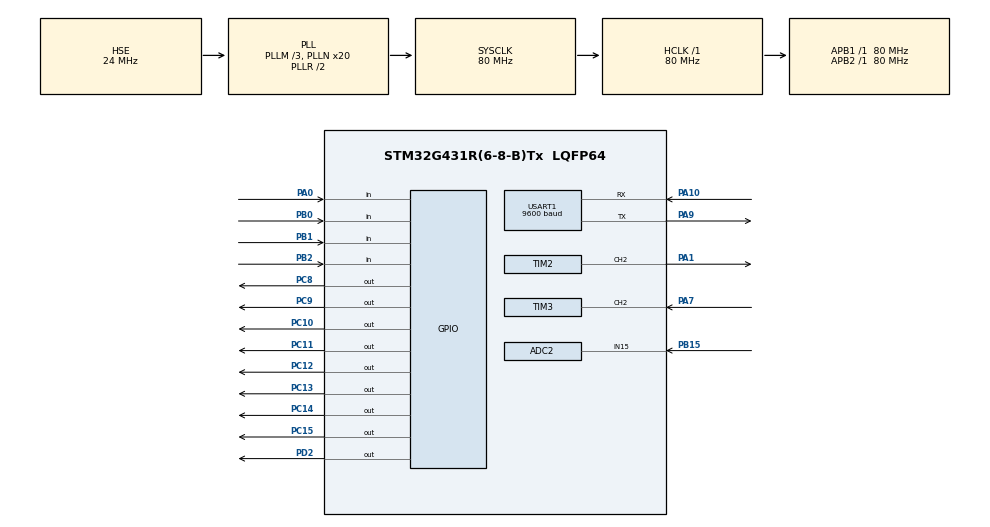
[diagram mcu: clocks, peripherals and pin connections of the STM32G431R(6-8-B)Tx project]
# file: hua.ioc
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ADC2.Channel-0\#ChannelRegularConversion=ADC_CHANNEL_15
ADC2.NbrOfConversionFlag=1
ADC2.OffsetNumber-0\#ChannelRegularConversion=ADC_OFFSET_NONE
ADC2.Rank-0\#ChannelRegularConversion=1
ADC2.SamplingTime-0\#ChannelRegularConversion=ADC_SAMPLETIME_2CYCLES_5
Mcu.Family=STM32G4
Mcu.Name=STM32G431R(6-8-B)Tx
Mcu.Package=LQFP64
NVIC.ADC1_2_IRQn=true\:0\:0\:false\:false\:true\:true\:true\:true
NVIC.PriorityGroup=NVIC_PRIORITYGROUP_4
NVIC.TIM2_IRQn=true\:0\:0\:false\:false\:true\:true\:true\:true
NVIC.TIM3_IRQn=true\:0\:0\:false\:false\:true\:true\:true\:true
NVIC.USART1_IRQn=true\:0\:0\:false\:false\:true\:true\:true\:true
PA0.GPIO_Mode=GPIO_MODE_INPUT
PA0.GPIO_PuPd=GPIO_NOPULL
PA0.Signal=GPIO_Input
PA1.Signal=S_TIM2_CH2
PA10.Mode=Asynchronous
PA10.Signal=USART1_RX
PA7.Signal=S_TIM3_CH2
PA9.Mode=Asynchronous
PA9.Signal=USART1_TX
PB0.GPIO_Mode=GPIO_MODE_INPUT
PB0.GPIO_PuPd=GPIO_NOPULL
PB0.Signal=GPIO_Input
PB1.GPIO_Mode=GPIO_MODE_INPUT
PB1.GPIO_PuPd=GPIO_NOPULL
PB1.Signal=GPIO_Input
PB15.Mode=IN15-Single-Ended
PB15.Signal=ADC2_IN15
PB2.GPIO_Mode=GPIO_MODE_INPUT
PB2.GPIO_PuPd=GPIO_NOPULL
PB2.Signal=GPIO_Input
PC10.GPIO_ModeDefaultOutputPP=GPIO_MODE_OUTPUT_PP
PC10.GPIO_PuPd=GPIO_NOPULL
PC10.GPIO_Speed=GPIO_SPEED_FREQ_LOW
PC10.PinState=GPIO_PIN_SET
PC10.Signal=GPIO_Output
PC11.GPIO_ModeDefaultOutputPP=GPIO_MODE_OUTPUT_PP
PC11.GPIO_PuPd=GPIO_NOPULL
PC11.GPIO_Speed=GPIO_SPEED_FREQ_LOW
PC11.PinState=GPIO_PIN_SET
PC11.Signal=GPIO_Output
PC12.GPIO_ModeDefaultOutputPP=GPIO_MODE_OUTPUT_PP
PC12.GPIO_PuPd=GPIO_NOPULL
PC12.GPIO_Speed=GPIO_SPEED_FREQ_LOW
PC12.PinState=GPIO_PIN_SET
PC12.Signal=GPIO_Output
PC13.GPIO_ModeDefaultOutputPP=GPIO_MODE_OUTPUT_PP
PC13.GPIO_PuPd=GPIO_NOPULL
PC13.GPIO_Speed=GPIO_SPEED_FREQ_LOW
PC13.PinState=GPIO_PIN_SET
PC13.Signal=GPIO_Output
PC14-OSC32_IN.GPIO_ModeDefaultOutputPP=GPIO_MODE_OUTPUT_PP
PC14-OSC32_IN.GPIO_PuPd=GPIO_NOPULL
PC14-OSC32_IN.GPIO_Speed=GPIO_SPEED_FREQ_LOW
PC14-OSC32_IN.PinState=GPIO_PIN_SET
PC14-OSC32_IN.Signal=GPIO_Output
PC15-OSC32_OUT.GPIO_ModeDefaultOutputPP=GPIO_MODE_OUTPUT_PP
PC15-OSC32_OUT.GPIO_PuPd=GPIO_NOPULL
PC15-OSC32_OUT.GPIO_Speed=GPIO_SPEED_FREQ_LOW
PC15-OSC32_OUT.PinState=GPIO_PIN_SET
PC15-OSC32_OUT.Signal=GPIO_Output
PC8.GPIO_ModeDefaultOutputPP=GPIO_MODE_OUTPUT_PP
PC8.GPIO_PuPd=GPIO_NOPULL
PC8.GPIO_Speed=GPIO_SPEED_FREQ_LOW
PC8.PinState=GPIO_PIN_SET
PC8.Signal=GPIO_Output
PC9.GPIO_ModeDefaultOutputPP=GPIO_MODE_OUTPUT_PP
PC9.GPIO_PuPd=GPIO_NOPULL
PC9.GPIO_Speed=GPIO_SPEED_FREQ_LOW
PC9.PinState=GPIO_PIN_SET
PC9.Signal=GPIO_Output
PD2.Signal=GPIO_Output
PF0-OSC_IN.Mode=HSE-External-Oscillator
PF0-OSC_IN.Signal=RCC_OSC_IN
PF1-OSC_OUT.Mode=HSE-External-Oscillator
PF1-OSC_OUT.Signal=RCC_OSC_OUT
ProjectManager.HeapSize=0x200
ProjectManager.StackSize=0x400
ProjectManager.TargetToolchain=MDK-ARM V5.27
RCC.ADC12Freq_Value=80000000
RCC.AHBFreq_Value=80000000
RCC.APB1Freq_Value=80000000
RCC.APB1TimFreq_Value=80000000
RCC.APB2Freq_Value=80000000
RCC.APB2TimFreq_Value=80000000
RCC.CortexFreq_Value=80000000
RCC.EXTERNAL_CLOCK_VALUE=12288000
RCC.HCLKFreq_Value=80000000
RCC.HSE_VALUE=24000000
RCC.HSI48_VALUE=48000000
RCC.HSI_VALUE=16000000
RCC.LSE_VALUE=32768
RCC.PLLM=RCC_PLLM_DIV3
RCC.PLLN=20
RCC.PLLSourceVirtual=RCC_PLLSOURCE_HSE
RCC.RTCClockSelection=RCC_RTCCLKSOURCE_HSE_DIV32
RCC.SYSCLKFreq_VALUE=80000000
RCC.SYSCLKSource=RCC_SYSCLKSOURCE_PLLCLK
RCC.USBFreq_Value=80000000
RCC.VCOOutputFreq_Value=160000000
RTC.AsynchPrediv=125
RTC.Hours=23
RTC.Minutes=59
RTC.Seconds=50
RTC.SynchPrediv=6000
SH.S_TIM2_CH2.0=TIM2_CH2,Output Compare2 CH2
SH.S_TIM3_CH2.0=TIM3_CH2,TriggerSource_TI2FP2
SH.S_TIM3_CH2.1=TIM3_CH2,Input_Capture2_from_TI2
TIM2.Channel-Output\ Compare2\ CH2=TIM_CHANNEL_2
TIM2.OCMode_2=TIM_OCMODE_TOGGLE
TIM2.Prescaler=79
TIM2.PulseNoDither_2=100
TIM3.Channel-Input_Capture1_from_TI2_63=TIM_CHANNEL_1
TIM3.Channel-Input_Capture2_from_TI2=TIM_CHANNEL_2
TIM3.ICPolarity_CH1=TIM_INPUTCHANNELPOLARITY_FALLING
TIM3.ICPolarity_CH2=TIM_INPUTCHANNELPOLARITY_RISING
TIM3.Prescaler=79
USART1.BaudRate=9600
USART1.VirtualMode-Asynchronous=VM_ASYNC
VP_RTC_VS_RTC_Activate.Mode=RTC_Enabled
VP_RTC_VS_RTC_Calendar.Mode=RTC_Calendar
VP_SYS_VS_DBSignals.Mode=DisableDeadBatterySignals
VP_TIM2_VS_ClockSourceINT.Mode=Internal
VP_TIM3_VS_ClockSourceINT.Mode=Internal
VP_TIM3_VS_ControllerModeReset.Mode=Reset Mode
VP_TIM3_VS_indirect_ch2.Mode=Input_Capture1_from_TI2_63
board=custom

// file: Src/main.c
/* USER CODE BEGIN Header */
/**
  ******************************************************************************
  * @file           : main.c
  * @brief          : Main program body
  ******************************************************************************
  * @attention
  *
  * <h2><center>&copy; Copyright (c) 2024 STMicroelectronics.
  * All rights reserved.</center></h2>
  *
  * This software component is licensed by ST under BSD 3-Clause license,
  * the "License"; You may not use this file except in compliance with the
  * License. You may obtain a copy of the License at:
  *                        opensource.org/licenses/BSD-3-Clause
  *
  ******************************************************************************
  */
/* USER CODE END Header */
#include "main.h"
#include "adc.h"
#include "rtc.h"
#include "tim.h"
#include "usart.h"
#include "gpio.h"

/* USER CODE BEGIN Includes */
#include "bsp_test.h"
#include "lcd.h"
#include "i2c_hal.h"
#include "rtc.h"
/* USER CODE END Includes */

void SystemClock_Config(void);

int main(void)
{

  /* MCU Configuration--------------------------------------------------------*/

  /* Reset of all peripherals, Initializes the Flash interface and the Systick. */
  HAL_Init();

  /* Configure the system clock */
  SystemClock_Config();

  /* Initialize all configured peripherals */
  MX_GPIO_Init();
  MX_ADC2_Init();
  MX_TIM2_Init();
  MX_TIM3_Init();
  MX_USART1_UART_Init();
  MX_RTC_Init();
  /* USER CODE BEGIN 2 */
	I2CInit();
  LCD_Init();
	LCD_SetBackColor(Blue);
	LCD_SetTextColor(White);
	LCD_Clear(Blue);
//	HAL_UART_Init(&huart1);

	HAL_TIM_OC_Start_IT(&htim2,TIM_CHANNEL_2);

	HAL_TIM_IC_Start_IT(&htim3,TIM_CHANNEL_2);
	HAL_TIM_IC_Start_IT(&htim3,TIM_CHANNEL_1);
	HAL_TIM_Base_Start(&htim3);

//	HAL_RTC_MspInit(&hrtc);
  /* USER CODE END 2 */

  /* Infinite loop */
  /* USER CODE BEGIN WHILE */
  while (1)
  {
		lcd_disp();
		key_proc();
		uart_proc();
		led_proc();
		RTC_Process();
    /* USER CODE END WHILE */

  }
}

void SystemClock_Config(void)
{
  RCC_OscInitTypeDef RCC_OscInitStruct = {0};
  RCC_ClkInitTypeDef RCC_ClkInitStruct = {0};

  /** Configure the main internal regulator output voltage
  */
  HAL_PWREx_ControlVoltageScaling(PWR_REGULATOR_VOLTAGE_SCALE1);

  /** Initializes the RCC Oscillators according to the specified parameters
  * in the RCC_OscInitTypeDef structure.
  */
  RCC_OscInitStruct.OscillatorType = RCC_OSCILLATORTYPE_HSE;
  RCC_OscInitStruct.HSEState = RCC_HSE_ON;
  RCC_OscInitStruct.PLL.PLLState = RCC_PLL_ON;
  RCC_OscInitStruct.PLL.PLLSource = RCC_PLLSOURCE_HSE;
  RCC_OscInitStruct.PLL.PLLM = RCC_PLLM_DIV3;
  RCC_OscInitStruct.PLL.PLLN = 20;
  RCC_OscInitStruct.PLL.PLLP = RCC_PLLP_DIV2;
  RCC_OscInitStruct.PLL.PLLQ = RCC_PLLQ_DIV2;
  RCC_OscInitStruct.PLL.PLLR = RCC_PLLR_DIV2;
  if (HAL_RCC_OscConfig(&RCC_OscInitStruct) != HAL_OK)
  {
    Error_Handler();
  }

  /** Initializes the CPU, AHB and APB buses clocks
  */
  RCC_ClkInitStruct.ClockType = RCC_CLOCKTYPE_HCLK|RCC_CLOCKTYPE_SYSCLK
                              |RCC_CLOCKTYPE_PCLK1|RCC_CLOCKTYPE_PCLK2;
  RCC_ClkInitStruct.SYSCLKSource = RCC_SYSCLKSOURCE_PLLCLK;
  RCC_ClkInitStruct.AHBCLKDivider = RCC_SYSCLK_DIV1;
  RCC_ClkInitStruct.APB1CLKDivider = RCC_HCLK_DIV1;
  RCC_ClkInitStruct.APB2CLKDivider = RCC_HCLK_DIV1;

  if (HAL_RCC_ClockConfig(&RCC_ClkInitStruct, FLASH_LATENCY_2) != HAL_OK)
  {
    Error_Handler();
  }
}

void Error_Handler(void)
{
}
